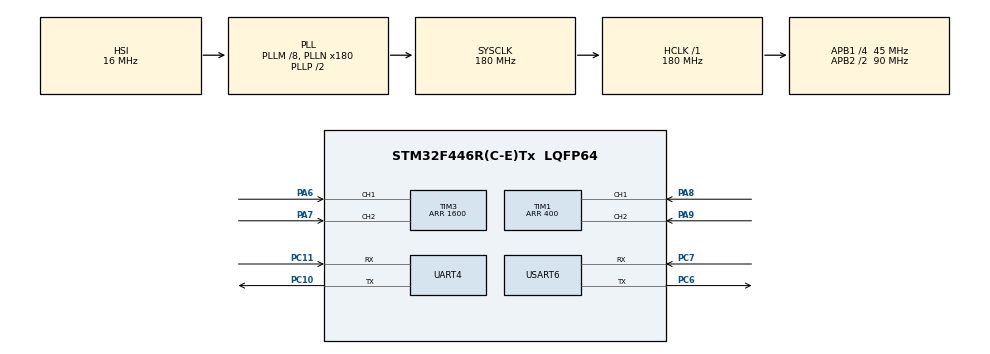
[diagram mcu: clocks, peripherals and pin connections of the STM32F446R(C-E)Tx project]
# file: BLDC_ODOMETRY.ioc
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Dma.Request0=UART4_TX
Dma.UART4_TX.0.Direction=DMA_MEMORY_TO_PERIPH
Dma.UART4_TX.0.FIFOMode=DMA_FIFOMODE_DISABLE
Dma.UART4_TX.0.Instance=DMA1_Stream4
Dma.UART4_TX.0.MemDataAlignment=DMA_MDATAALIGN_BYTE
Dma.UART4_TX.0.MemInc=DMA_MINC_ENABLE
Dma.UART4_TX.0.Mode=DMA_CIRCULAR
Dma.UART4_TX.0.PeriphDataAlignment=DMA_PDATAALIGN_BYTE
Dma.UART4_TX.0.PeriphInc=DMA_PINC_DISABLE
Dma.UART4_TX.0.Priority=DMA_PRIORITY_VERY_HIGH
FREERTOS.Tasks01=Task1,16,128,Task1_function,Default,NULL,Dynamic,NULL,NULL;Task2,8,128,Task2_function,Default,NULL,Dynamic,NULL,NULL
Mcu.Family=STM32F4
Mcu.Name=STM32F446R(C-E)Tx
Mcu.Package=LQFP64
NVIC.DMA1_Stream4_IRQn=true\:5\:0\:false\:false\:true\:true\:false\:true\:true
NVIC.PriorityGroup=NVIC_PRIORITYGROUP_4
NVIC.TIM6_DAC_IRQn=true\:15\:0\:false\:false\:true\:false\:false\:true\:true
NVIC.TimeBase=TIM6_DAC_IRQn
NVIC.TimeBaseIP=TIM6
PA13.Mode=Serial_Wire
PA13.Signal=SYS_JTMS-SWDIO
PA14.Mode=Serial_Wire
PA14.Signal=SYS_JTCK-SWCLK
PA6.Signal=S_TIM3_CH1
PA7.Signal=S_TIM3_CH2
PA8.Signal=S_TIM1_CH1
PA9.Signal=S_TIM1_CH2
PC10.Mode=Asynchronous
PC10.Signal=UART4_TX
PC11.Mode=Asynchronous
PC11.Signal=UART4_RX
PC14-OSC32_IN.Mode=LSE-External-Clock-Source
PC14-OSC32_IN.Signal=RCC_OSC32_IN
PC15-OSC32_OUT.Mode=LSE-External-Clock-Source
PC15-OSC32_OUT.Signal=RCC_OSC32_OUT
PC6.Mode=Asynchronous
PC6.Signal=USART6_TX
PC7.Mode=Asynchronous
PC7.Signal=USART6_RX
PH0-OSC_IN.Mode=HSE-External-Oscillator
PH0-OSC_IN.Signal=RCC_OSC_IN
PH1-OSC_OUT.Mode=HSE-External-Oscillator
PH1-OSC_OUT.Signal=RCC_OSC_OUT
ProjectManager.HeapSize=0x200
ProjectManager.StackSize=0x400
ProjectManager.TargetToolchain=STM32CubeIDE
RCC.AHBFreq_Value=180000000
RCC.APB1CLKDivider=RCC_HCLK_DIV4
RCC.APB1Freq_Value=45000000
RCC.APB1TimFreq_Value=90000000
RCC.APB2CLKDivider=RCC_HCLK_DIV2
RCC.APB2Freq_Value=90000000
RCC.APB2TimFreq_Value=180000000
RCC.CortexFreq_Value=180000000
RCC.HCLKFreq_Value=180000000
RCC.PLLM=8
RCC.PLLN=180
RCC.SYSCLKFreq_VALUE=180000000
RCC.SYSCLKSource=RCC_SYSCLKSOURCE_PLLCLK
RCC.USBFreq_Value=180000000
RCC.VCOOutputFreq_Value=360000000
SH.S_TIM1_CH1.0=TIM1_CH1,Encoder_Interface
SH.S_TIM1_CH2.0=TIM1_CH2,Encoder_Interface
SH.S_TIM3_CH1.0=TIM3_CH1,Encoder_Interface
SH.S_TIM3_CH2.0=TIM3_CH2,Encoder_Interface
TIM1.AutoReloadPreload=TIM_AUTORELOAD_PRELOAD_ENABLE
TIM1.EncoderMode=TIM_ENCODERMODE_TI12
TIM1.Period=400
TIM3.AutoReloadPreload=TIM_AUTORELOAD_PRELOAD_ENABLE
TIM3.EncoderMode=TIM_ENCODERMODE_TI12
TIM3.Period=1600
UART4.VirtualMode=Asynchronous
USART6.VirtualMode=VM_ASYNC
VP_FREERTOS_VS_CMSIS_V2.Mode=CMSIS_V2
VP_SYS_VS_tim6.Mode=TIM6
board=custom

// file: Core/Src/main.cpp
/* USER CODE BEGIN Header */
/**
  ******************************************************************************
  * @file           : main.c
  * @brief          : Main program body
  ******************************************************************************
  * @attention
  *
  * Copyright (c) 2025 STMicroelectronics.
  * All rights reserved.
  *
  * This software is licensed under terms that can be found in the LICENSE file
  * in the root directory of this software component.
  * If no LICENSE file comes with this software, it is provided AS-IS.
  *
  ******************************************************************************
  */
/* USER CODE END Header */
#include "main.h"
#include "cmsis_os.h"

/* USER CODE BEGIN Includes */
#include "Encoder_v1.0.h"
#include "BNO085.h"
#include "Odometry.h"
#include "string.h"
/* USER CODE END Includes */

/* USER CODE BEGIN PD */
#define ODOMETRY_DATA_START_BYTE (1)
#define ODOMETRY_DATA_STOP_BYTE (4)
/* USER CODE END PD */

TIM_HandleTypeDef htim1;
TIM_HandleTypeDef htim3;

UART_HandleTypeDef huart4;
UART_HandleTypeDef huart6;
DMA_HandleTypeDef hdma_uart4_tx;

/* Definitions for Task1 */
osThreadId_t Task1Handle;
const osThreadAttr_t Task1_attributes = {
  .name = "Task1",
  .stack_size = 128 * 4,
  .priority = (osPriority_t) osPriorityBelowNormal,
};
/* Definitions for Task2 */
osThreadId_t Task2Handle;
const osThreadAttr_t Task2_attributes = {
  .name = "Task2",
  .stack_size = 128 * 4,
  .priority = (osPriority_t) osPriorityLow,
};

void SystemClock_Config(void);
static void MX_GPIO_Init(void);
static void MX_DMA_Init(void);
static void MX_TIM1_Init(void);
static void MX_TIM3_Init(void);
static void MX_USART6_UART_Init(void);
static void MX_UART4_Init(void);
void Task1_function(void *argument);
void Task2_function(void *argument);

/* USER CODE BEGIN 0 */
struct PositionData{
	float x;
	float y;
	float theta;
	float velocity_x;
	float velocity_y;
	float omega;
} position;
uint8_t odometry_data[sizeof(PositionData)+2];

Sensors::IMU bno(&huart6);

Encoder encoder_x(&htim3, 400, 58, ENCODER_UNITS.MILLIMETER);
Encoder encoder_y(&htim1, 100, 58, ENCODER_UNITS.MILLIMETER);

Odometry odometry(encoder_x, encoder_y, bno, -0.27, -0.27);

float x_position, y_position, theta, velocity_x, velocity_y, omega;

HAL_StatusTypeDef stm_to_esp_odmetry_data_status;

/* USER CODE END 0 */

int main(void)
{

  /* MCU Configuration--------------------------------------------------------*/

  /* Reset of all peripherals, Initializes the Flash interface and the Systick. */
  HAL_Init();

  /* Configure the system clock */
  SystemClock_Config();

  /* Initialize all configured peripherals */
  MX_GPIO_Init();
  MX_DMA_Init();
  MX_TIM1_Init();
  MX_TIM3_Init();
  MX_USART6_UART_Init();
  MX_UART4_Init();
  /* USER CODE BEGIN 2 */

  HAL_Delay(1000);
  odometry_data[0] = ODOMETRY_DATA_START_BYTE;
  odometry_data[sizeof(odometry_data) - 1] = ODOMETRY_DATA_STOP_BYTE;

  odometry.init();

  /* USER CODE END 2 */

  /* Init scheduler */
  osKernelInitialize();

  /* Create the thread(s) */
  /* creation of Task1 */
  Task1Handle = osThreadNew(Task1_function, NULL, &Task1_attributes);

  /* creation of Task2 */
  Task2Handle = osThreadNew(Task2_function, NULL, &Task2_attributes);

  /* Start scheduler */
  osKernelStart();

  /* We should never get here as control is now taken by the scheduler */

  /* Infinite loop */
  while (1)
  {

  }
}

void SystemClock_Config(void)
{
  RCC_OscInitTypeDef RCC_OscInitStruct = {0};
  RCC_ClkInitTypeDef RCC_ClkInitStruct = {0};

  /** Configure the main internal regulator output voltage
  */
  __HAL_RCC_PWR_CLK_ENABLE();
  __HAL_PWR_VOLTAGESCALING_CONFIG(PWR_REGULATOR_VOLTAGE_SCALE1);

  /** Initializes the RCC Oscillators according to the specified parameters
  * in the RCC_OscInitTypeDef structure.
  */
  RCC_OscInitStruct.OscillatorType = RCC_OSCILLATORTYPE_HSI;
  RCC_OscInitStruct.HSIState = RCC_HSI_ON;
  RCC_OscInitStruct.HSICalibrationValue = RCC_HSICALIBRATION_DEFAULT;
  RCC_OscInitStruct.PLL.PLLState = RCC_PLL_ON;
  RCC_OscInitStruct.PLL.PLLSource = RCC_PLLSOURCE_HSI;
  RCC_OscInitStruct.PLL.PLLM = 8;
  RCC_OscInitStruct.PLL.PLLN = 180;
  RCC_OscInitStruct.PLL.PLLP = RCC_PLLP_DIV2;
  RCC_OscInitStruct.PLL.PLLQ = 2;
  RCC_OscInitStruct.PLL.PLLR = 2;
  if (HAL_RCC_OscConfig(&RCC_OscInitStruct) != HAL_OK)
  {
    Error_Handler();
  }

  /** Activate the Over-Drive mode
  */
  if (HAL_PWREx_EnableOverDrive() != HAL_OK)
  {
    Error_Handler();
  }

  /** Initializes the CPU, AHB and APB buses clocks
  */
  RCC_ClkInitStruct.ClockType = RCC_CLOCKTYPE_HCLK|RCC_CLOCKTYPE_SYSCLK
                              |RCC_CLOCKTYPE_PCLK1|RCC_CLOCKTYPE_PCLK2;
  RCC_ClkInitStruct.SYSCLKSource = RCC_SYSCLKSOURCE_PLLCLK;
  RCC_ClkInitStruct.AHBCLKDivider = RCC_SYSCLK_DIV1;
  RCC_ClkInitStruct.APB1CLKDivider = RCC_HCLK_DIV4;
  RCC_ClkInitStruct.APB2CLKDivider = RCC_HCLK_DIV2;

  if (HAL_RCC_ClockConfig(&RCC_ClkInitStruct, FLASH_LATENCY_5) != HAL_OK)
  {
    Error_Handler();
  }
}

static void MX_TIM1_Init(void)
{

  TIM_Encoder_InitTypeDef sConfig = {0};
  TIM_MasterConfigTypeDef sMasterConfig = {0};

  htim1.Instance = TIM1;
  htim1.Init.Prescaler = 0;
  htim1.Init.CounterMode = TIM_COUNTERMODE_UP;
  htim1.Init.Period = 400;
  htim1.Init.ClockDivision = TIM_CLOCKDIVISION_DIV1;
  htim1.Init.RepetitionCounter = 0;
  htim1.Init.AutoReloadPreload = TIM_AUTORELOAD_PRELOAD_ENABLE;
  sConfig.EncoderMode = TIM_ENCODERMODE_TI12;
  sConfig.IC1Polarity = TIM_ICPOLARITY_RISING;
  sConfig.IC1Selection = TIM_ICSELECTION_DIRECTTI;
  sConfig.IC1Prescaler = TIM_ICPSC_DIV1;
  sConfig.IC1Filter = 0;
  sConfig.IC2Polarity = TIM_ICPOLARITY_RISING;
  sConfig.IC2Selection = TIM_ICSELECTION_DIRECTTI;
  sConfig.IC2Prescaler = TIM_ICPSC_DIV1;
  sConfig.IC2Filter = 0;
  if (HAL_TIM_Encoder_Init(&htim1, &sConfig) != HAL_OK)
  {
    Error_Handler();
  }
  sMasterConfig.MasterOutputTrigger = TIM_TRGO_RESET;
  sMasterConfig.MasterSlaveMode = TIM_MASTERSLAVEMODE_DISABLE;
  if (HAL_TIMEx_MasterConfigSynchronization(&htim1, &sMasterConfig) != HAL_OK)
  {
    Error_Handler();
  }

}

static void MX_TIM3_Init(void)
{

  TIM_Encoder_InitTypeDef sConfig = {0};
  TIM_MasterConfigTypeDef sMasterConfig = {0};

  htim3.Instance = TIM3;
  htim3.Init.Prescaler = 0;
  htim3.Init.CounterMode = TIM_COUNTERMODE_UP;
  htim3.Init.Period = 1600;
  htim3.Init.ClockDivision = TIM_CLOCKDIVISION_DIV1;
  htim3.Init.AutoReloadPreload = TIM_AUTORELOAD_PRELOAD_ENABLE;
  sConfig.EncoderMode = TIM_ENCODERMODE_TI12;
  sConfig.IC1Polarity = TIM_ICPOLARITY_RISING;
  sConfig.IC1Selection = TIM_ICSELECTION_DIRECTTI;
  sConfig.IC1Prescaler = TIM_ICPSC_DIV1;
  sConfig.IC1Filter = 0;
  sConfig.IC2Polarity = TIM_ICPOLARITY_RISING;
  sConfig.IC2Selection = TIM_ICSELECTION_DIRECTTI;
  sConfig.IC2Prescaler = TIM_ICPSC_DIV1;
  sConfig.IC2Filter = 0;
  if (HAL_TIM_Encoder_Init(&htim3, &sConfig) != HAL_OK)
  {
    Error_Handler();
  }
  sMasterConfig.MasterOutputTrigger = TIM_TRGO_RESET;
  sMasterConfig.MasterSlaveMode = TIM_MASTERSLAVEMODE_DISABLE;
  if (HAL_TIMEx_MasterConfigSynchronization(&htim3, &sMasterConfig) != HAL_OK)
  {
    Error_Handler();
  }

}

static void MX_UART4_Init(void)
{

  huart4.Instance = UART4;
  huart4.Init.BaudRate = 115200;
  huart4.Init.WordLength = UART_WORDLENGTH_8B;
  huart4.Init.StopBits = UART_STOPBITS_1;
  huart4.Init.Parity = UART_PARITY_NONE;
  huart4.Init.Mode = UART_MODE_TX_RX;
  huart4.Init.HwFlowCtl = UART_HWCONTROL_NONE;
  huart4.Init.OverSampling = UART_OVERSAMPLING_16;
  if (HAL_UART_Init(&huart4) != HAL_OK)
  {
    Error_Handler();
  }

}

static void MX_USART6_UART_Init(void)
{

  huart6.Instance = USART6;
  huart6.Init.BaudRate = 115200;
  huart6.Init.WordLength = UART_WORDLENGTH_8B;
  huart6.Init.StopBits = UART_STOPBITS_1;
  huart6.Init.Parity = UART_PARITY_NONE;
  huart6.Init.Mode = UART_MODE_TX_RX;
  huart6.Init.HwFlowCtl = UART_HWCONTROL_NONE;
  huart6.Init.OverSampling = UART_OVERSAMPLING_16;
  if (HAL_UART_Init(&huart6) != HAL_OK)
  {
    Error_Handler();
  }

}

static void MX_DMA_Init(void)
{

  /* DMA controller clock enable */
  __HAL_RCC_DMA1_CLK_ENABLE();

  /* DMA interrupt init */
  /* DMA1_Stream4_IRQn interrupt configuration */
  HAL_NVIC_SetPriority(DMA1_Stream4_IRQn, 5, 0);
  HAL_NVIC_EnableIRQ(DMA1_Stream4_IRQn);

}

static void MX_GPIO_Init(void)
{

  /* GPIO Ports Clock Enable */
  __HAL_RCC_GPIOC_CLK_ENABLE();
  __HAL_RCC_GPIOH_CLK_ENABLE();
  __HAL_RCC_GPIOA_CLK_ENABLE();

}

void Task1_function(void *argument)
{
  /* USER CODE BEGIN 5 */
  /* Infinite loop */
  for(;;)
  {
	odometry.update();

	position.x = odometry.x_position;
	position.y = odometry.y_position;
	position.theta = odometry.theta;

	position.velocity_x = odometry.velocity_x;
	position.velocity_y = odometry.velocity_y;
	position.omega = odometry.omega;

	memcpy(odometry_data+1, &position, sizeof(position));
    osDelay(pdMS_TO_TICKS(1));
  }
  /* USER CODE END 5 */
}

void Task2_function(void *argument)
{
  /* USER CODE BEGIN Task2_function */
  /* Infinite loop */
  for(;;)
  {
	stm_to_esp_odmetry_data_status = HAL_UART_Transmit(&huart4, odometry_data, sizeof(odometry_data),HAL_MAX_DELAY);
    osDelay(pdMS_TO_TICKS(10));
  }
  /* USER CODE END Task2_function */
}

void HAL_TIM_PeriodElapsedCallback(TIM_HandleTypeDef *htim)
{
  if (htim->Instance == TIM6) {
    HAL_IncTick();
  }
}

void Error_Handler(void)
{
  __disable_irq();
  while (1)
  {
  }
}
